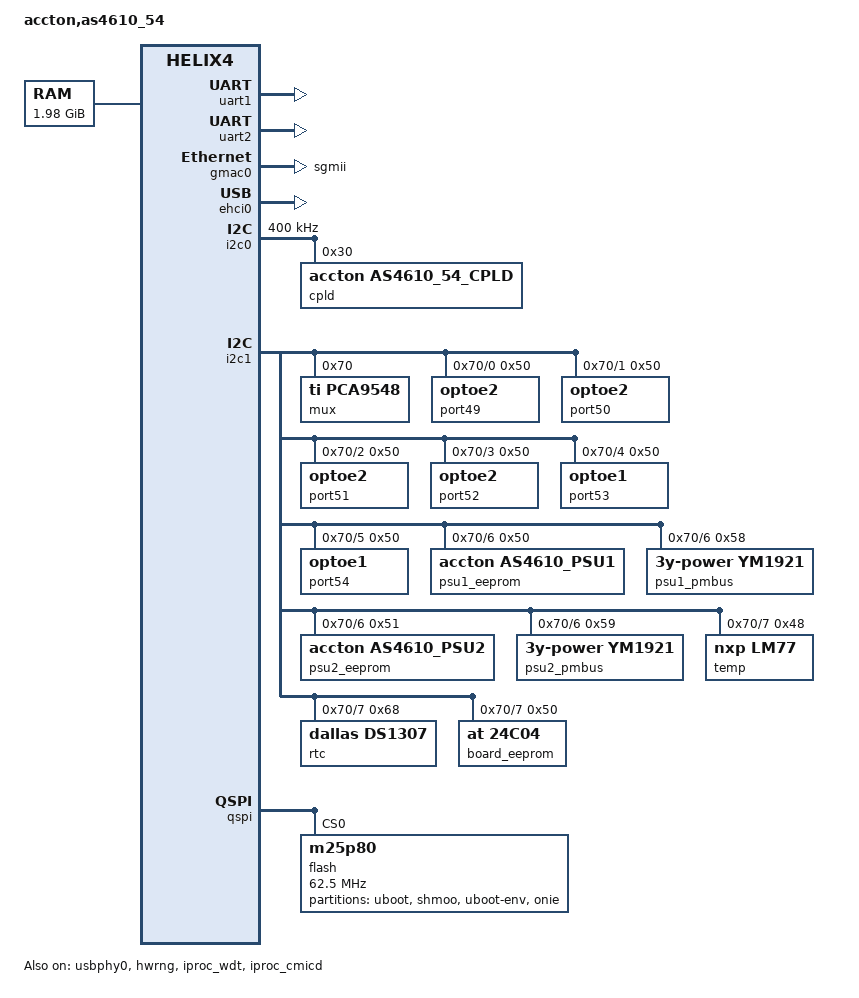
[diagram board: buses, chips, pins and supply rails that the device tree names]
/*
 * Accton AS4610 54 Device Tree Source
 *
 * Copyright 2015, Cumulus Networks, Inc.
 *
 * This program is free software; you can redistribute  it and/or modify it
 * under  the terms of  the GNU General  Public License as published by the
 * Free Software Foundation;  either version 2 of the  License, or (at your
 * option) any later version.
 *
 */
/dts-v1/;
#include "dts/bcm-helix4.dtsi"

/ {
    model = "accton,as4610_54";
    compatible = "accton,as4610_54","brcm,helix4";

    aliases {
        serial0 = &uart1;
        serial1 = &uart2;
        ethernet0 = &gmac0;
        i2c-controller0 = &i2c0;
        i2c-controller1 = &i2c1;
    };
/*
    chosen {
	bootargs = "console=ttyS0,115200n8 maxcpus=2 mem=2000M";
    };
*/
    memory {
        reg = <0x61000000 0x7f000000>;
    };
};

&uart1 {
	status = "okay";
};

&uart2 {
	status = "okay";
};

&gmac0 {
	status = "okay";
	phy-mode = "sgmii"; /* "gmii-id", "gmii-rxid", "sgmii" */
};

&usbphy0 {
    status = "okay";
    usb-phy-mode = "host"; /* "host", "device" */
/*	mdio-phy-handle = <&usb_phy>;
*/
};

&ehci0 {
	status = "okay";
};

&gpio_cca {
       status = "okay";
};

&i2c0 {
	status = "okay";
        clock-frequency = <400000>;
        cpld@30 {
        #address-cells = <1>;
        #size-cells = <1>;
        compatible = "accton,as4610_54_cpld";
        label = "cpld";
        reg = <0x30>;
    };
};

&i2c1 {
	status = "okay";
        mux@70 {
            compatible = "ti,pca9548";
            reg = <0x70>;
            #address-cells = <1>;
            #size-cells = <0>;
            deselect-on-exit;

        // SFP+ 1
        i2c@0 {
            #address-cells = <1>;
            #size-cells = <0>;
            reg = <0>;
            optoe@50 {
                compatible = "optoe2";
                reg = <0x50>;
                label = "port49";
            };
        };

        // SFP+ 2
        i2c@1 {
            #address-cells = <1>;
            #size-cells = <0>;
            reg = <1>;
            optoe@50 {
                compatible = "optoe2";
                reg = <0x50>;
                label = "port50";
            };
        };

        // SFP+ 3
        i2c@2 {
            #address-cells = <1>;
            #size-cells = <0>;
            reg = <2>;
            optoe@50 {
                compatible = "optoe2";
                reg = <0x50>;
                label = "port51";
            };
        };

        // SFP+ 4
        i2c@3 {
            #address-cells = <1>;
            #size-cells = <0>;
            reg = <3>;
            optoe@50 {
                compatible = "optoe2";
                reg = <0x50>;
                label = "port52";
            };
        };

        // QSFP+ STK1
        i2c@4 {
            #address-cells = <1>;
            #size-cells = <0>;
            reg = <4>;
            optoe@50 {
                compatible = "optoe1";
                reg = <0x50>;
                label = "port53";
            };
        };

        // QSFP+ STK2
        i2c@5 {
            #address-cells = <1>;
            #size-cells = <0>;
            reg = <5>;
            optoe@50 {
                compatible = "optoe1";
                reg = <0x50>;
                label = "port54";
            };
        };

        // PSU EEPROM
        i2c@6 {
            #address-cells = <1>;
            #size-cells = <0>;
            reg = <6>;
            psu1_eeprom@50 {
                compatible = "accton,as4610_psu1";
                reg = <0x50>;
            };
            psu1_pmbus@58 {
                compatible = "3y-power,ym1921";
                reg = <0x58>;
            };
            psu2_eeprom@51 {
                compatible = "accton,as4610_psu2";
                reg = <0x51>;
            };
            psu2_pmbus@59 {
                compatible = "3y-power,ym1921";
                reg = <0x59>;
            };
        };

        i2c@7 {
            #address-cells = <1>;
            #size-cells = <0>;
            reg = <7>;

            temp@48 {
                compatible = "nxp,lm77";
                reg = <0x48>;
            };

            rtc@68 {
                /* Actually M41T11 */
                compatible = "dallas,ds1307";
                reg = <0x68>;
            };

            board_eeprom@50 {
                compatible = "at,24c04";
                reg = <0x50>;
                label = "board_eeprom";
            };
        };
    };
};

&hwrng {
	status = "okay";
};

&iproc_wdt {
	status = "okay";
};

&dmac0 {
	status = "okay";
};

&iproc_cmicd {
	status = "okay";
};

&qspi {
    status = "okay";
    flash: m25p80@0 {
        #address-cells = <1>;
        #size-cells = <1>;
        compatible = "m25p80";
        m25p,fast-read = <1>;
        spi-max-frequency = <62500000>;
        reg = <0x0>;
        partition@0 {
            label = "uboot";
            reg = <0x00000000 0x000e0000>;
            /*read-only;*/
        };
        partition@1 {
            label = "shmoo";
            reg = <0x000e0000 0x00010000>;
        };
        partition@2 {
            label = "uboot-env";
            reg = <0x000f0000 0x00010000>;
        };
        partition@3 {
            label = "onie";
            reg = <0x00100000 0x00700000>;
        };
    };
};
